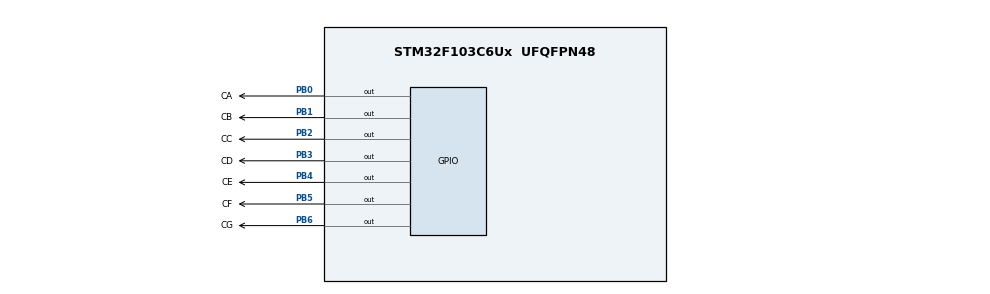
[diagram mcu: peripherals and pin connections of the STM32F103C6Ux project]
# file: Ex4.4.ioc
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Mcu.Family=STM32F1
Mcu.Name=STM32F103C6Ux
Mcu.Package=UFQFPN48
NVIC.PriorityGroup=NVIC_PRIORITYGROUP_4
PB0.GPIO_Label=CA
PB0.Signal=GPIO_Output
PB1.GPIO_Label=CB
PB1.Signal=GPIO_Output
PB2.GPIO_Label=CC
PB2.Signal=GPIO_Output
PB3.GPIO_Label=CD
PB3.Signal=GPIO_Output
PB4.GPIO_Label=CE
PB4.Signal=GPIO_Output
PB5.GPIO_Label=CF
PB5.Signal=GPIO_Output
PB6.GPIO_Label=CG
PB6.Signal=GPIO_Output
ProjectManager.HeapSize=0x200
ProjectManager.StackSize=0x400
ProjectManager.TargetToolchain=STM32CubeIDE
RCC.APB1Freq_Value=8000000
RCC.APB2Freq_Value=8000000
VP_SYS_VS_ND.Mode=No_Debug
board=custom

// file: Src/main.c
/* USER CODE BEGIN Header */
/**
  ******************************************************************************
  * @file           : main.c
  * @brief          : Main program body
  ******************************************************************************
  * @attention
  *
  * <h2><center>&copy; Copyright (c) 2022 STMicroelectronics.
  * All rights reserved.</center></h2>
  *
  * This software component is licensed by ST under BSD 3-Clause license,
  * the "License"; You may not use this file except in compliance with the
  * License. You may obtain a copy of the License at:
  *                        opensource.org/licenses/BSD-3-Clause
  *
  ******************************************************************************
  */
/* USER CODE END Header */
#include "main.h"

void SystemClock_Config(void);
static void MX_GPIO_Init(void);

int main(void)
{

  /* MCU Configuration--------------------------------------------------------*/

  /* Reset of all peripherals, Initializes the Flash interface and the Systick. */
  HAL_Init();

  /* USER CODE BEGIN Init */
  void display7SEG(int num);
  /* USER CODE END Init */

  /* Configure the system clock */
  SystemClock_Config();

  /* Initialize all configured peripherals */
  MX_GPIO_Init();

  /* Infinite loop */
  while (1)
  {
	  int counter = 0;
	   while (1) {
	   if( counter >= 10) counter = 0;
	   display7SEG ( counter ++) ;
	   HAL_Delay (1000) ;
	  }
  }
}

void SystemClock_Config(void)
{
  RCC_OscInitTypeDef RCC_OscInitStruct = {0};
  RCC_ClkInitTypeDef RCC_ClkInitStruct = {0};

  /** Initializes the RCC Oscillators according to the specified parameters
  * in the RCC_OscInitTypeDef structure.
  */
  RCC_OscInitStruct.OscillatorType = RCC_OSCILLATORTYPE_HSI;
  RCC_OscInitStruct.HSIState = RCC_HSI_ON;
  RCC_OscInitStruct.HSICalibrationValue = RCC_HSICALIBRATION_DEFAULT;
  RCC_OscInitStruct.PLL.PLLState = RCC_PLL_NONE;
  if (HAL_RCC_OscConfig(&RCC_OscInitStruct) != HAL_OK)
  {
    Error_Handler();
  }
  /** Initializes the CPU, AHB and APB buses clocks
  */
  RCC_ClkInitStruct.ClockType = RCC_CLOCKTYPE_HCLK|RCC_CLOCKTYPE_SYSCLK
                              |RCC_CLOCKTYPE_PCLK1|RCC_CLOCKTYPE_PCLK2;
  RCC_ClkInitStruct.SYSCLKSource = RCC_SYSCLKSOURCE_HSI;
  RCC_ClkInitStruct.AHBCLKDivider = RCC_SYSCLK_DIV1;
  RCC_ClkInitStruct.APB1CLKDivider = RCC_HCLK_DIV1;
  RCC_ClkInitStruct.APB2CLKDivider = RCC_HCLK_DIV1;

  if (HAL_RCC_ClockConfig(&RCC_ClkInitStruct, FLASH_LATENCY_0) != HAL_OK)
  {
    Error_Handler();
  }
}

static void MX_GPIO_Init(void)
{
  GPIO_InitTypeDef GPIO_InitStruct = {0};

  /* GPIO Ports Clock Enable */
  __HAL_RCC_GPIOB_CLK_ENABLE();

  /*Configure GPIO pin Output Level */
  HAL_GPIO_WritePin(GPIOB, CA_Pin|CB_Pin|CC_Pin|CD_Pin
                          |CE_Pin|CF_Pin|CG_Pin, GPIO_PIN_RESET);

  /*Configure GPIO pins : CA_Pin CB_Pin CC_Pin CD_Pin
                           CE_Pin CF_Pin CG_Pin */
  GPIO_InitStruct.Pin = CA_Pin|CB_Pin|CC_Pin|CD_Pin
                          |CE_Pin|CF_Pin|CG_Pin;
  GPIO_InitStruct.Mode = GPIO_MODE_OUTPUT_PP;
  GPIO_InitStruct.Pull = GPIO_NOPULL;
  GPIO_InitStruct.Speed = GPIO_SPEED_FREQ_LOW;
  HAL_GPIO_Init(GPIOB, &GPIO_InitStruct);

}

/* USER CODE BEGIN 4 */
void display7SEG(int num){
	HAL_GPIO_WritePin(CA_GPIO_Port, CA_Pin, 1);
	HAL_GPIO_WritePin(CB_GPIO_Port, CB_Pin, 1);
	HAL_GPIO_WritePin(CC_GPIO_Port, CC_Pin, 1);
	HAL_GPIO_WritePin(CD_GPIO_Port, CD_Pin, 1);
	HAL_GPIO_WritePin(CE_GPIO_Port, CE_Pin, 1);
	HAL_GPIO_WritePin(CF_GPIO_Port, CF_Pin, 1);
	HAL_GPIO_WritePin(CG_GPIO_Port, CG_Pin, 1);
	switch(num){
	case 0:{
		HAL_GPIO_WritePin(CA_GPIO_Port, CA_Pin, 0);
		HAL_GPIO_WritePin(CB_GPIO_Port, CB_Pin, 0);
		HAL_GPIO_WritePin(CC_GPIO_Port, CC_Pin, 0);
		HAL_GPIO_WritePin(CD_GPIO_Port, CD_Pin, 0);
		HAL_GPIO_WritePin(CE_GPIO_Port, CE_Pin, 0);
		HAL_GPIO_WritePin(CF_GPIO_Port, CF_Pin, 0);
		break;
	}
	case 1:{
		HAL_GPIO_WritePin(CB_GPIO_Port, CB_Pin, 0);
		HAL_GPIO_WritePin(CC_GPIO_Port, CC_Pin, 0);
		break;
	}
	case 2:{
		HAL_GPIO_WritePin(CA_GPIO_Port, CA_Pin, 0);
		HAL_GPIO_WritePin(CB_GPIO_Port, CB_Pin, 0);
		HAL_GPIO_WritePin(CG_GPIO_Port, CG_Pin, 0);
		HAL_GPIO_WritePin(CD_GPIO_Port, CD_Pin, 0);
		HAL_GPIO_WritePin(CE_GPIO_Port, CE_Pin, 0);
		break;
	}
	case 3:{
		HAL_GPIO_WritePin(CA_GPIO_Port, CA_Pin, 0);
		HAL_GPIO_WritePin(CB_GPIO_Port, CB_Pin, 0);
		HAL_GPIO_WritePin(CC_GPIO_Port, CC_Pin, 0);
		HAL_GPIO_WritePin(CD_GPIO_Port, CD_Pin, 0);
		HAL_GPIO_WritePin(CG_GPIO_Port, CG_Pin, 0);
		break;
	}
	case 4:{
		HAL_GPIO_WritePin(CB_GPIO_Port, CB_Pin, 0);
		HAL_GPIO_WritePin(CC_GPIO_Port, CC_Pin, 0);
		HAL_GPIO_WritePin(CG_GPIO_Port, CG_Pin, 0);
		HAL_GPIO_WritePin(CF_GPIO_Port, CF_Pin, 0);
		break;
	}
	case 5:{
		HAL_GPIO_WritePin(CA_GPIO_Port, CA_Pin, 0);
		HAL_GPIO_WritePin(CC_GPIO_Port, CC_Pin, 0);
		HAL_GPIO_WritePin(CD_GPIO_Port, CD_Pin, 0);
		HAL_GPIO_WritePin(CG_GPIO_Port, CG_Pin, 0);
		HAL_GPIO_WritePin(CF_GPIO_Port, CF_Pin, 0);
		break;
	}
	case 6:{
		HAL_GPIO_WritePin(CA_GPIO_Port, CA_Pin, 0);
		HAL_GPIO_WritePin(CG_GPIO_Port, CG_Pin, 0);
		HAL_GPIO_WritePin(CC_GPIO_Port, CC_Pin, 0);
		HAL_GPIO_WritePin(CD_GPIO_Port, CD_Pin, 0);
		HAL_GPIO_WritePin(CE_GPIO_Port, CE_Pin, 0);
		HAL_GPIO_WritePin(CF_GPIO_Port, CF_Pin, 0);
		break;
	}
	case 7:{
		HAL_GPIO_WritePin(CA_GPIO_Port, CA_Pin, 0);
		HAL_GPIO_WritePin(CB_GPIO_Port, CB_Pin, 0);
		HAL_GPIO_WritePin(CC_GPIO_Port, CC_Pin, 0);
		break;
	}
	case 8:{
		HAL_GPIO_WritePin(CA_GPIO_Port, CA_Pin, 0);
		HAL_GPIO_WritePin(CB_GPIO_Port, CB_Pin, 0);
		HAL_GPIO_WritePin(CC_GPIO_Port, CC_Pin, 0);
		HAL_GPIO_WritePin(CD_GPIO_Port, CD_Pin, 0);
		HAL_GPIO_WritePin(CE_GPIO_Port, CE_Pin, 0);
		HAL_GPIO_WritePin(CF_GPIO_Port, CF_Pin, 0);
		HAL_GPIO_WritePin(CG_GPIO_Port, CG_Pin, 0);
		break;
	}
	case 9:{
		HAL_GPIO_WritePin(CA_GPIO_Port, CA_Pin, 0);
		HAL_GPIO_WritePin(CB_GPIO_Port, CB_Pin, 0);
		HAL_GPIO_WritePin(CC_GPIO_Port, CC_Pin, 0);
		HAL_GPIO_WritePin(CD_GPIO_Port, CD_Pin, 0);
		HAL_GPIO_WritePin(CF_GPIO_Port, CF_Pin, 0);
		HAL_GPIO_WritePin(CG_GPIO_Port, CG_Pin, 0);
		break;
	}
	default: break;
	}
}
/* USER CODE END 4 */

void Error_Handler(void)
{
  __disable_irq();
  while (1)
  {
  }
}

/************************ (C) COPYRIGHT STMicroelectronics *****END OF FILE****/
